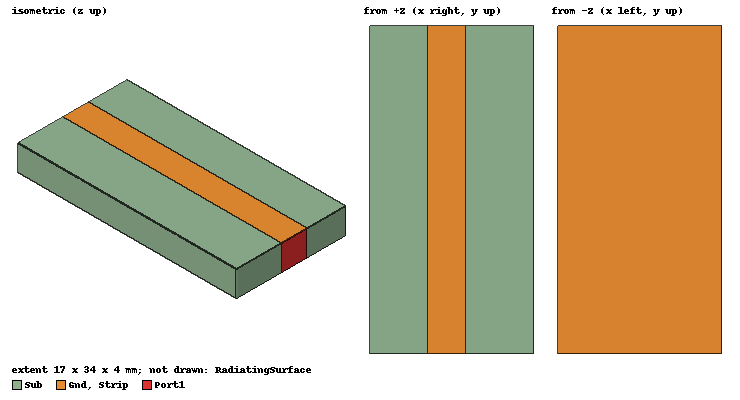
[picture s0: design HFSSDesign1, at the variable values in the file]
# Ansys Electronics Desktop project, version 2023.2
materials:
  vacuum: permittivity=1
  FR4_epoxy: permittivity=4.4 dielectric_loss_tangent=0.02

design HFSSDesign1 (HFSS, HFSS Terminal Network, model units mm)
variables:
  a = 17mm
  b = 34mm
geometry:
  Gnd = rectangle(corner=(0mm, 0mm, 0mm), x_size=a, y_size=b)
  Sub [FR4_epoxy] = box(corner=(0mm, 0mm, 0mm), size=(17mm, 34mm, 4mm))
  Strip = rectangle(corner=(6mm, 0mm, 4mm), x_size=4mm, y_size=34mm)
  Port1 = rectangle(corner=(10mm, 34mm, 4mm), z_size=-4mm, x_size=-4mm)
  Port2 = rectangle(corner=(6mm, 0mm, 4mm), z_size=-4mm, x_size=4mm)
  RadiatingSurface [vacuum] = region(absolute_offset=100mm on all sides)
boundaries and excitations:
  PerfE1: Perfect E Objects=[Gnd, Strip]
  Open1: Radiation Objects=RadiatingSurface
  1: Lumped Port Objects=Port1 LumpedPortType=Modal Modes{Mode1{IntLine{(8, 34, 0) -> (8, 34, 4)} CharImp=Zpi}} Impedance=50ohm
  2: Lumped Port Objects=Port2 LumpedPortType=Modal Modes{Mode1{IntLine{(7, 0, 0) -> (7, 0, 4)} CharImp=Zpi}} Impedance=50ohm
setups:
  Setup1: HfssDriven Frequency=5GHz MaxDeltaS=0.02 MaximumPasses=6 MinimumPasses=1 MinimumConvergedPasses=1 PercentRefinement=30 BasisOrder=1 PortAccuracy=2 DrivenSolverType="Direct Solver"
    sweep Sweep: 2.5GHz to 7.5GHz, 401 points; Type=Interpolating InterpTolerance=0.5 InterpMaxSolns=250 PassivityErrorTolerance=0.0001
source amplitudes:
  1:1: 1V 0deg
  2:1: 0V 0deg
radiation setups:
  3D: Infinite Sphere Theta=0deg..180deg step 2deg Phi=-180deg..180deg step 2deg
  Elevation: Infinite Sphere Theta=-180deg..180deg step 1deg Phi=0deg..90deg step 90deg
  Azimuth: Infinite Sphere Theta=90deg..90deg step 0deg Phi=-180deg..180deg step 1deg
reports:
  Gamma Plot 1: im(Gamma(1)) vs Freq on Setup1 : Sweep
  Terminal S Parameter Plot 1: dB(St(1,1)) vs Freq on Setup1 : Sweep
  Gain Plot 1: GainTotal vs Phi, Theta on Setup1 : LastAdaptive, 3D [Freq=5GHz]
